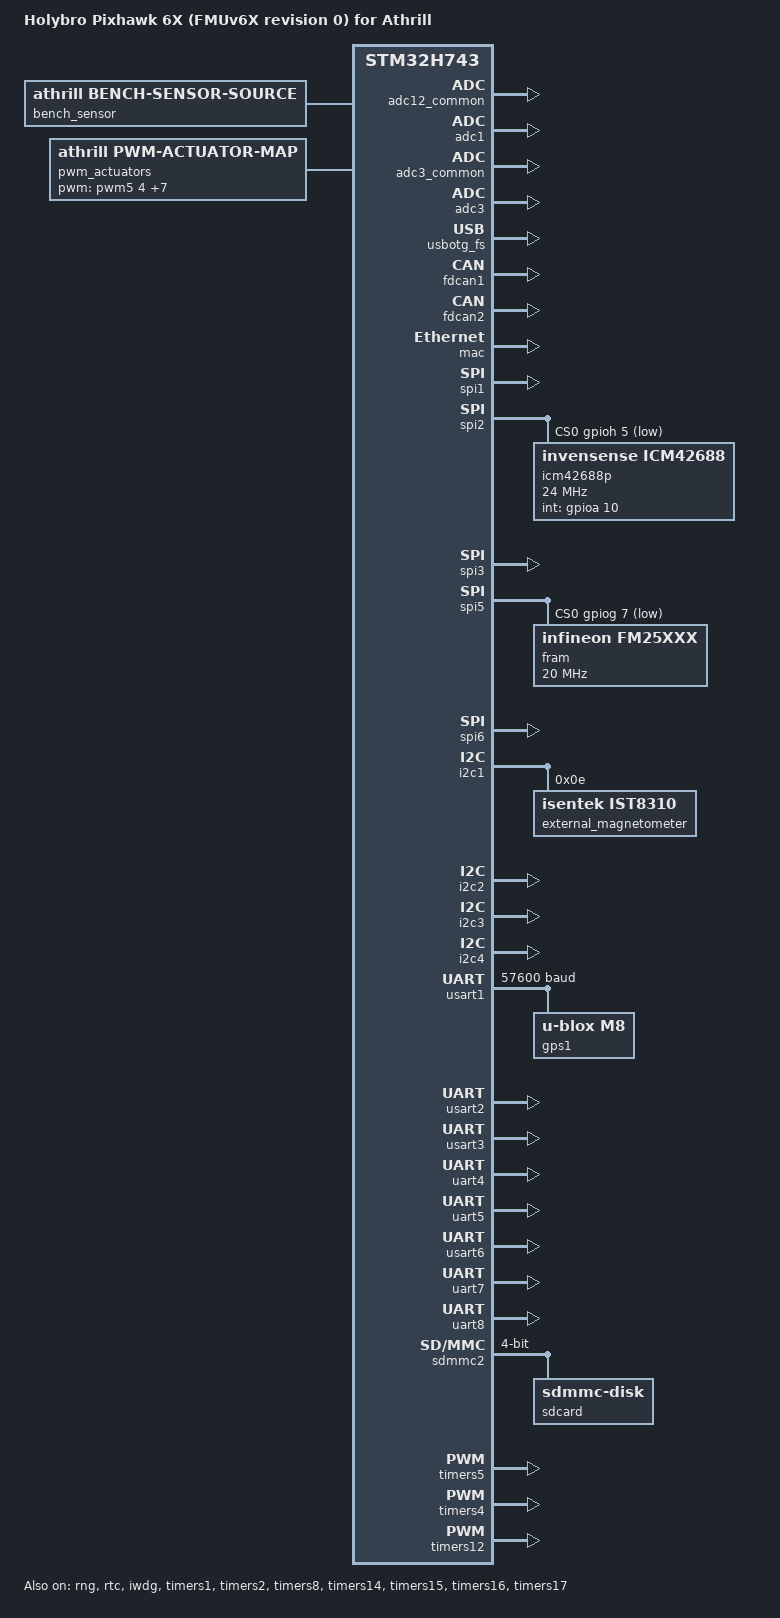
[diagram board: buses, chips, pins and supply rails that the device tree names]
/* SPDX-License-Identifier: MIT */

/*
 * Athrill Holybro Pixhawk 6X / FMUv6X sensor-set revision 0.
 *
 * PX4-Autopilot v1.17.0 wiring sources:
 *   boards/px4/fmu-v6x/src/{spi.cpp,i2c.cpp,timer_config.cpp,board_config.h}
 *   boards/px4/fmu-v6x/nuttx-config/{nsh/defconfig,include/board_dma_map.h}
 *   boards/px4/fmu-v6x/init/rc.board_sensors
 */

/dts-v1/;

#include "../pixhawk6c/stm32h743-athrill.dtsi"
#include <zephyr/dt-bindings/gpio/gpio.h>
#include <zephyr/dt-bindings/dma/stm32_dma.h>

/ {
	model = "Holybro Pixhawk 6X (FMUv6X revision 0) for Athrill";
	compatible = "holybro,pixhawk6x", "st,stm32h753", "st,stm32h743";

	aliases {
		gnss0 = &gps1;
	};

	bench_sensor: bench-sensor-source {
		compatible = "athrill,bench-sensor-source";
	};

	hakoniwa_sensor: sensor-device {
		compatible = "hakoniwa,sensor-device";
		status = "disabled";
	};

	/* FMU outputs 1..8 in firmware output order. */
	pwm_actuators: pwm-actuator-map {
		compatible = "athrill,pwm-actuator-map";
		pwms = <&pwm5 4 20000000 0>,
		       <&pwm5 3 20000000 0>,
		       <&pwm5 2 20000000 0>,
		       <&pwm5 1 20000000 0>,
		       <&pwm4 2 20000000 0>,
		       <&pwm4 3 20000000 0>,
		       <&pwm12 1 20000000 0>,
		       <&pwm12 2 20000000 0>;
		pwm-names = "FMU_CH1", "FMU_CH2", "FMU_CH3", "FMU_CH4",
			    "FMU_CH5", "FMU_CH6", "FMU_CH7", "FMU_CH8";
		athrill,output-pins = "PI0", "PH12", "PH11", "PH10",
				      "PD13", "PD14", "PH6", "PH9";
	};

	soc {
		syscfg: system-config@58000400 {
			compatible = "st,stm32h7-syscfg";
			reg = <0x58000400 0x400>;
		};
	};
};

/* H753 and H743 share the memory and peripheral map used by PX4. */
&dma1 { status = "okay"; };
&dma2 { status = "okay"; };
&dmamux1 { status = "okay"; };
&bdma1 { status = "okay"; };
&dmamux2 { status = "okay"; };
&adc12_common { status = "okay"; };
&adc1 { status = "okay"; };
&adc3_common { status = "okay"; };
&adc3 { status = "okay"; };
&rng { status = "okay"; };
&rtc { status = "okay"; };
&iwdg { status = "okay"; };
&usbotg_fs { status = "okay"; };

&fdcan1 {
	status = "okay";
	reg = <0x4000a000 0x400>, <0x4000ac00 0x2800>;
};
&fdcan2 {
	status = "okay";
	reg = <0x4000a400 0x400>;
};

/* NuttX enables Ethernet. Keep its registers and make reset/MDIO complete. */
&mac {
	compatible = "athrill,register-block", "st,stm32h7-ethernet";
	status = "okay";
	athrill,read-clear = <0x0200 0x00000001>, <0x1000 0x00000001>;
};
&mdio { status = "disabled"; };
&ptp_clock { status = "disabled"; };

/* Revision 0 SPI1: ICM-20649, not modeled in stage 1. */
&spi1 {
	status = "okay";
	cs-gpios = <&gpioi 9 GPIO_ACTIVE_LOW>;
	dmas = <&dmamux1 0 38 STM32_DMA_PERIPH_TX>,
	       <&dmamux1 0 37 STM32_DMA_PERIPH_RX>;
	dma-names = "tx", "rx";

	icm20649: imu@0 {
		compatible = "invensense,icm20649";
		reg = <0>;
		spi-max-frequency = <8000000>;
		int-gpios = <&gpiof 2 GPIO_ACTIVE_HIGH>;
		athrill,mount-rotation = "roll-180-yaw-270";
		status = "disabled";
	};
};

/* Revision 0 SPI2: the modeled ICM-42688-P. */
&spi2 {
	status = "okay";
	cs-gpios = <&gpioh 5 GPIO_ACTIVE_LOW>;
	dmas = <&dmamux1 0 40 STM32_DMA_PERIPH_TX>,
	       <&dmamux1 0 39 STM32_DMA_PERIPH_RX>;
	dma-names = "tx", "rx";

	icm42688p: imu@0 {
		compatible = "invensense,icm42688", "invensense,icm4268x";
		reg = <0>;
		spi-max-frequency = <24000000>;
		int-gpios = <&gpioa 10 GPIO_ACTIVE_HIGH>;
		athrill,mount-rotation = "yaw-270";
	};
};

/* Revision 0 SPI3: BMI088 gyro and accelerometer, stage-2 models. */
&spi3 {
	status = "okay";
	cs-gpios = <&gpioi 8 GPIO_ACTIVE_LOW>,
		   <&gpioi 4 GPIO_ACTIVE_LOW>;
	dmas = <&dmamux1 0 62 STM32_DMA_PERIPH_TX>,
	       <&dmamux1 0 61 STM32_DMA_PERIPH_RX>;
	dma-names = "tx", "rx";

	bmi088_gyro: gyroscope@0 {
		compatible = "bosch,bmi088-gyro";
		reg = <0>;
		spi-max-frequency = <10000000>;
		int-gpios = <&gpioi 7 GPIO_ACTIVE_HIGH>;
		athrill,mount-rotation = "yaw-180";
		status = "disabled";
	};

	bmi088_accel: accelerometer@1 {
		compatible = "bosch,bmi088-accel";
		reg = <1>;
		spi-max-frequency = <10000000>;
		int-gpios = <&gpioi 6 GPIO_ACTIVE_HIGH>;
		athrill,mount-rotation = "yaw-180";
		status = "disabled";
	};
};

/* Parameter F-RAM on SPI5, CS PG7. */
&spi5 {
	status = "okay";
	cs-gpios = <&gpiog 7 GPIO_ACTIVE_LOW>;

	fram: fram@0 {
		compatible = "infineon,fm25xxx";
		reg = <0>;
		spi-max-frequency = <20000000>;
		size = <32768>;
	};
};

/* External SPI connector: two chip selects and DRDY pins. */
&spi6 {
	status = "okay";
	cs-gpios = <&gpioi 10 GPIO_ACTIVE_LOW>,
		   <&gpioa 15 GPIO_ACTIVE_LOW>;
	dmas = <&dmamux2 0 12 STM32_DMA_PERIPH_TX>,
	       <&dmamux2 0 11 STM32_DMA_PERIPH_RX>;
	dma-names = "tx", "rx";
};

/* External I2C1 simulates the standard GPS/compass puck. */
&i2c1 {
	status = "okay";

	external_magnetometer: magnetometer@e {
		compatible = "isentek,ist8310";
		reg = <0x0e>;
		athrill,mount-rotation = "roll-180-yaw-90";
	};
};
&i2c2 { status = "okay"; };

/* External I2C3 also carries the base-board EEPROM at 0x51. */
&i2c3 {
	status = "okay";

	base_eeprom: eeprom@51 {
		compatible = "microchip,24lc64";
		reg = <0x51>;
		status = "disabled";
	};
};

/* Revision 0 internal I2C4: EEPROM, BMP388 and BMM150 (stage 2). */
&i2c4 {
	status = "okay";

	imu_eeprom: eeprom@50 {
		compatible = "microchip,24lc64";
		reg = <0x50>;
		status = "disabled";
	};

	barometer: pressure@77 {
		compatible = "bosch,bmp388";
		reg = <0x77>;
		status = "disabled";
	};

	internal_magnetometer: magnetometer@10 {
		compatible = "bosch,bmm150";
		reg = <0x10>;
		status = "disabled";
	};
};

&usart1 {
	status = "okay";
	current-speed = <57600>;

	gps1: gnss {
		compatible = "u-blox,m8";
		initial-baudrate = <9600>;
		fix-rate = <200>;
	};
};
&usart2 { status = "okay"; };
&usart3 {
	status = "okay";
	dmas = <&dmamux1 0 46 STM32_DMA_PERIPH_TX>,
	       <&dmamux1 0 45 STM32_DMA_PERIPH_RX>;
	dma-names = "tx", "rx";
};
&uart4 { status = "okay"; };
&uart5 {
	status = "okay";
	dmas = <&dmamux1 0 66 STM32_DMA_PERIPH_TX>,
	       <&dmamux1 0 65 STM32_DMA_PERIPH_RX>;
	dma-names = "tx", "rx";
};
&usart6 {
	status = "okay";
	dmas = <&dmamux1 0 72 STM32_DMA_PERIPH_TX>,
	       <&dmamux1 0 71 STM32_DMA_PERIPH_RX>;
	dma-names = "tx", "rx";
};
&uart7 {
	status = "okay";
	dmas = <&dmamux1 0 80 STM32_DMA_PERIPH_TX>,
	       <&dmamux1 0 79 STM32_DMA_PERIPH_RX>;
	dma-names = "tx", "rx";
};
&uart8 { status = "okay"; };

&sdmmc2 {
	status = "okay";
	bus-width = <4>;
	athrill,d0-gpios = <&gpiob 14 GPIO_ACTIVE_HIGH>;

	sdcard: sd-card {
		compatible = "zephyr,sdmmc-disk";
		disk-name = "SD";
		status = "okay";
	};
};

/* TIM5/TIM4 update requests carry PX4 DShot bursts: DMAMUX1 requests TIM5_UP = 59 and
 * TIM4_UP = 32 (RM0433 Table 121; NuttX stm32h7x3xx_dmamux.h). */
&timers5 {
	status = "okay";
	dmas = <&dmamux1 0 59 (STM32_DMA_PERIPH_TX | STM32_DMA_MEM_32BITS |
			       STM32_DMA_PERIPH_32BITS | STM32_DMA_PRIORITY_HIGH)>;
	dma-names = "up";
	pwm5: pwm { status = "okay"; };
};
&timers4 {
	status = "okay";
	dmas = <&dmamux1 0 32 (STM32_DMA_PERIPH_TX | STM32_DMA_MEM_32BITS |
			       STM32_DMA_PERIPH_32BITS | STM32_DMA_PRIORITY_HIGH)>;
	dma-names = "up";
	pwm4: pwm { status = "okay"; };
};
&timers12 {
	status = "okay";
	pwm12: pwm { status = "okay"; };
};
&timers1 { status = "okay"; };
&timers2 { status = "okay"; };
&timers8 { status = "okay"; };
&timers14 { status = "okay"; };
&timers15 { status = "okay"; };
&timers16 { status = "okay"; };
&timers17 { status = "okay"; };

&pwm_actuators { value-source = <&bench_sensor>; };
&icm42688p { value-source = <&bench_sensor>; };
&external_magnetometer { value-source = <&bench_sensor>; };
&gps1 { value-source = <&bench_sensor>; };

/* ADC3 DR is forced low by stm32h7-athrill.dtsi. PX4 reads zero for both
 * PH3 (version) and PH4 (revision), recognizes no resistor ladder, and
 * selects V6X000: sensor-set revision 0 and base-board version 0. */
